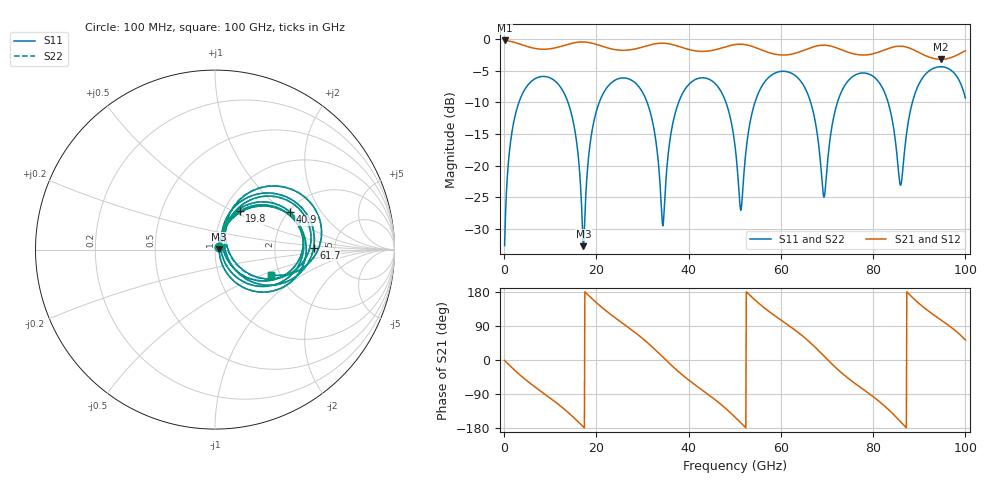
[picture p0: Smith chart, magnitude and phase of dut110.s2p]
! Touchstone file exported from HFSS 2026.1.0
!  File:  C:/ffzhzh/LocalFiles/Ansys_Project_Files/temp_train_TSV_RDL_110_1783634841_29156.aedt
!  Generated:  06:24:28 AM Jul 10, 2026
!  Design:  TSV_RDL
!  Project:  temp_train_TSV_RDL_110_1783634841_29156
! Variables:
!  h_bsmrdl = 3.48um
!  h_ox = 20um
!  h_rdl = 5um
!  h_sub = 63.35um
!  h_tmrdl = 2.73um
!  h_tsv = 63.35um
!  h_via = 3um
!  l_bsmrdl = 517.28um
!  l_sub = 3558.75um
!  l_tmrdl = 371.9um
!  m_sub = 200um
!  pitch = 41.5um
!  r_tsv = 6.13um
!  s_tmrdl = 10um
!  w_bsmrdl = 20.58um
!  w_sub = 500um
!  w_tmrdl = 19.19um
!  x_tsv_center1 = 381.495um
!  x_tsv_center2 = 919.355um
!  x_tsv_center3 = 1310.445um
!  x_tsv_center4 = 1848.305um
!  x_tsv_center5 = 2239.395um
!  x_tsv_center6 = 2777.255um
# GHz S MA R 50.000000
! Terminal data exported
! Port[1] = TM_RDL1_1_T1
! Port[2] = TM_RDL5_1_T1
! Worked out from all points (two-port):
!   1000 points, 100 MHz to 100 GHz, reference 50 ohm
!   highest |S21| = -0.17 dB at 100 MHz (marker M1); lowest = -3.2 dB at 94.7 GHz (marker M2)
!   |S21| within 3 dB of the highest: start of sweep to end of sweep
!   lowest |S11| = -32.8 dB at 17.2 GHz (marker M3), VSWR 1.05, Z = 52.3 + j0.162 ohm
!   |S11| at or under -10 dB: 13.85 GHz to 20.61 GHz (6.758 GHz wide, 39.2 % of centre); 31.01 GHz to 37.82 GHz (6.81 GHz wide, 19.8 % of centre); 48.09 GHz to 54.37 GHz (6.277 GHz wide, 12.3 % of centre) (the widest 3 of 6)
!   |S22| runs from -32.7 to -4.3 dB; largest |S21 - S12| = 1.8e-12
!   S11 on the Smith chart (normalised r, x): 100 MHz: 1.04, +0.02; 19.8 GHz: 1.18, +0.54; 40.9 GHz: 2.05, +1.09; 61.7 GHz: 3.44, +0.12; 100 GHz: 1.79, -0.57
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0.1  0.02323 30.6  0.9802 -1.3  0.9802 -1.3  0.02323 30.6
! Gamma 0 0 0 0
! Port Impedance 50 0 50 0
2.4  0.2504 55.9  0.9428 -28.3  0.9428 -28.3  0.2504 55.9
7.7  0.5046 7.6  0.8374 -80.2  0.8374 -80.2  0.5045 7.6
14.1  0.2972 -49.3  0.9189 -141.0  0.9189 -141.0  0.2972 -49.3
16.8  0.04695 -54.6  0.954 -171.9  0.954 -171.9  0.04705 -54.3
17.2  0.023 3.8  0.9537 -176.6  0.9537 -176.6  0.02321 3.8
19.8  0.2537 57.3  0.9165 153.5  0.9165 153.5  0.2537 57.3
28.1  0.4621 -14.6  0.8352 75.3  0.8352 75.3  0.4621 -14.6
33.4  0.1087 -54.3  0.9296 19.6  0.9296 19.6  0.1087 -54.1
34.5  0.03469 21.5  0.9325 6.6  0.9325 6.6  0.03523 21.5
40.9  0.4678 26.4  0.8177 -61.1  0.8177 -61.1  0.4679 26.4
50.1  0.1385 -44.7  0.9097 -151.3  0.9097 -151.3  0.1388 -44.4
51.4  0.04526 24.1  0.9152 -166.8  0.9152 -166.8  0.04609 23.9
54.8  0.3512 57.1  0.8519 153.9  0.8519 153.9  0.3514 56.9
61.7  0.5499 1.2  0.7569 90.9  0.7569 90.9  0.55 1.1
66.7  0.2952 -39.4  0.8639 42.1  0.8639 42.1  0.2953 -39.5
69.3  0.05628 5.0  0.8995 10.9  0.8995 10.9  0.05626 4.8
74.4  0.4608 39.2  0.7944 -46.4  0.7944 -46.4  0.4608 39.1
83.4  0.3028 -31.6  0.8485 -131.6  0.8485 -131.6  0.3024 -32.1
86  0.07003 20.8  0.8832 -163.6  0.8832 -163.6  0.06755 21.0
94.7  0.6067 15.2  0.6946 105.7  0.6946 105.7  0.6067 15.3
100  0.3428 -24.2  0.8119 52.9  0.8119 52.9  0.3427 -24.3
